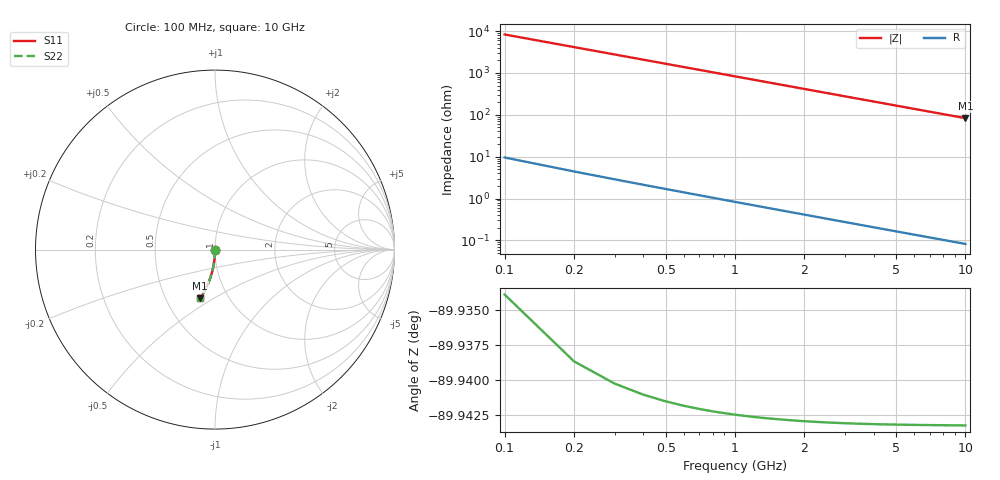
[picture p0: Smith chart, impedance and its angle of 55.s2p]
# Hz S RI R 50.00
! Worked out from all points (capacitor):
!   100 points, 100 MHz to 10 GHz, reference 50 ohm
!   read as one part in shunt: C = 192 fF near 100 MHz
!   lowest |Z| = 83.2 ohm at 10 GHz (marker M1)
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1e8  -4.96e-06 -0.00298  1 -0.00305  1 -0.00305  -4.96e-06 -0.00298
2e8  -3.52e-05 -0.00596  0.9999 -0.00611  0.9999 -0.00611  -3.52e-05 -0.00596
3e8  -8.36e-05 -0.00894  0.9999 -0.00916  0.9999 -0.00916  -8.36e-05 -0.00894
4e8  -0.00015 -0.0119  0.9998 -0.0122  0.9998 -0.0122  -0.00015 -0.0119
5e8  -0.000235 -0.0149  0.9997 -0.0153  0.9997 -0.0153  -0.000235 -0.0149
6e8  -0.000338 -0.0179  0.9996 -0.0183  0.9996 -0.0183  -0.000338 -0.0179
7e8  -0.000459 -0.0208  0.9995 -0.0214  0.9995 -0.0214  -0.000459 -0.0208
8e8  -0.000598 -0.0238  0.9994 -0.0244  0.9994 -0.0244  -0.000598 -0.0238
9e8  -0.000756 -0.0268  0.9992 -0.0275  0.9992 -0.0275  -0.000756 -0.0268
1.1e9  -0.00112 -0.0327  0.9989 -0.0335  0.9989 -0.0335  -0.00112 -0.0327
1.4e9  -0.00181 -0.0416  0.9982 -0.0427  0.9982 -0.0427  -0.00181 -0.0416
1.8e9  -0.00298 -0.0535  0.997 -0.0548  0.997 -0.0548  -0.00298 -0.0535
2.1e9  -0.00405 -0.0623  0.9959 -0.0638  0.9959 -0.0638  -0.00405 -0.0623
2.5e9  -0.00572 -0.074  0.9943 -0.0759  0.9943 -0.0759  -0.00572 -0.074
2.9e9  -0.00767 -0.0857  0.9923 -0.0878  0.9923 -0.0878  -0.00767 -0.0857
3.4e9  -0.0105 -0.1002  0.9895 -0.1027  0.9895 -0.1027  -0.0105 -0.1002
4.2e9  -0.0159 -0.123  0.9841 -0.1262  0.9841 -0.1262  -0.0159 -0.123
5.1e9  -0.0232 -0.1482  0.9768 -0.152  0.9768 -0.152  -0.0232 -0.1482
5.9e9  -0.0308 -0.1701  0.9692 -0.1745  0.9692 -0.1745  -0.0308 -0.1701
6.7e9  -0.0393 -0.1914  0.9607 -0.1964  0.9607 -0.1964  -0.0393 -0.1914
8.4e9  -0.0603 -0.2345  0.9396 -0.2408  0.9396 -0.2408  -0.0603 -0.2345
1e10  -0.0833 -0.272  0.9167 -0.2796  0.9167 -0.2796  -0.0833 -0.272
